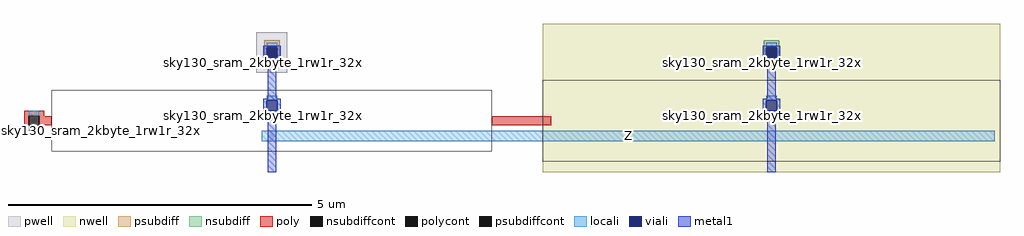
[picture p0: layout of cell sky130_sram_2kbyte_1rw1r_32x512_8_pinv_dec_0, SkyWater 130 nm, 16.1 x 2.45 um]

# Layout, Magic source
magic
tech sky130A
magscale 1 2
<< nwell >>
rect 1756 0 3264 490
<< pwell >>
rect 811 328 913 462
<< psubdiff >>
rect 837 412 887 436
rect 837 378 845 412
rect 879 378 887 412
rect 837 354 887 378
<< nsubdiff >>
rect 2485 412 2535 436
rect 2485 378 2493 412
rect 2527 378 2535 412
rect 2485 354 2535 378
<< psubdiffcont >>
rect 845 378 879 412
<< nsubdiffcont >>
rect 2493 378 2527 412
<< poly >>
rect 44 187 110 203
rect 44 153 60 187
rect 94 185 110 187
rect 94 155 136 185
rect 1588 155 1784 185
rect 94 153 110 155
rect 44 137 110 153
<< polycont >>
rect 60 153 94 187
<< locali >>
rect 845 412 879 428
rect 845 362 879 378
rect 2493 412 2527 428
rect 2493 362 2527 378
rect 845 237 879 253
rect 60 187 94 203
rect 845 187 879 203
rect 2493 237 2527 253
rect 2493 187 2527 203
rect 60 137 94 153
rect 829 103 3246 137
<< viali >>
rect 845 378 879 412
rect 2493 378 2527 412
rect 845 203 879 237
rect 2493 203 2527 237
<< metal1 >>
rect 833 412 891 418
rect 833 378 845 412
rect 879 378 891 412
rect 833 372 891 378
rect 2481 412 2539 418
rect 2481 378 2493 412
rect 2527 378 2539 412
rect 2481 372 2539 378
rect 848 243 876 372
rect 2496 243 2524 372
rect 833 237 891 243
rect 833 203 845 237
rect 879 203 891 237
rect 833 197 891 203
rect 2481 237 2539 243
rect 2481 203 2493 237
rect 2527 203 2539 237
rect 2481 197 2539 203
rect 848 0 876 197
rect 2496 0 2524 197
use sky130_sram_2kbyte_1rw1r_32x512_8_contact_14  sky130_sram_2kbyte_1rw1r_32x512_8_contact_14_0
transform 1 0 2481 0 1 187
box 0 0 1 1
use sky130_sram_2kbyte_1rw1r_32x512_8_contact_14  sky130_sram_2kbyte_1rw1r_32x512_8_contact_14_1
transform 1 0 833 0 1 187
box 0 0 1 1
use sky130_sram_2kbyte_1rw1r_32x512_8_contact_16  sky130_sram_2kbyte_1rw1r_32x512_8_contact_16_0
transform 1 0 44 0 1 137
box 0 0 1 1
use sky130_sram_2kbyte_1rw1r_32x512_8_contact_14  sky130_sram_2kbyte_1rw1r_32x512_8_contact_14_2
transform 1 0 833 0 1 362
box 0 0 1 1
use sky130_sram_2kbyte_1rw1r_32x512_8_contact_15  sky130_sram_2kbyte_1rw1r_32x512_8_contact_15_0
transform 1 0 837 0 1 354
box 0 0 1 1
use sky130_sram_2kbyte_1rw1r_32x512_8_contact_14  sky130_sram_2kbyte_1rw1r_32x512_8_contact_14_3
transform 1 0 2481 0 1 362
box 0 0 1 1
use sky130_sram_2kbyte_1rw1r_32x512_8_contact_13  sky130_sram_2kbyte_1rw1r_32x512_8_contact_13_0
transform 1 0 2485 0 1 354
box 0 0 1 1
use sky130_sram_2kbyte_1rw1r_32x512_8_nmos_m1_w7_000_sli_dli_da_p  sky130_sram_2kbyte_1rw1r_32x512_8_nmos_m1_w7_000_sli_dli_da_p_0
transform 0 1 162 -1 0 245
box -26 -26 176 1426
use sky130_sram_2kbyte_1rw1r_32x512_8_pmos_m1_w7_000_sli_dli_da_p  sky130_sram_2kbyte_1rw1r_32x512_8_pmos_m1_w7_000_sli_dli_da_p_0
transform 0 1 1810 -1 0 245
box -59 -54 209 1454
<< labels >>
rlabel metal1 s 848 0 876 395 4 gnd
port 1 nsew
rlabel metal1 s 2496 0 2524 395 4 vdd
port 2 nsew
rlabel locali s 77 170 77 170 4 A
port 3 nsew
rlabel locali s 2037 120 2037 120 4 Z
port 4 nsew
<< properties >>
string FIXED_BBOX 0 0 3246 395
string GDS_FILE $PDKPATH/libs.ref/sky130_sram_macros/gds/sky130_sram_2kbyte_1rw1r_32x512_8.gds
string GDS_END 58604
string GDS_START 56734
<< end >>
